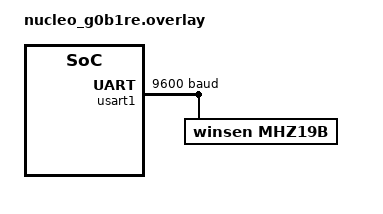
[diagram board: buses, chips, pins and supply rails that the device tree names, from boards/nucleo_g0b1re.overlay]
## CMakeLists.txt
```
# SPDX-License-Identifier: Apache-2.0

cmake_minimum_required(VERSION 3.20.0)
find_package(Zephyr REQUIRED HINTS $ENV{ZEPHYR_BASE})
project(mhz19b)

FILE(GLOB app_sources src/*.c)
target_sources(app PRIVATE ${app_sources})
```

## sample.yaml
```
#
# Copyright (c) 2021 G-Technologies Sdn. Bhd.
#
# SPDX-License-Identifier: Apache-2.0

sample:
  name: MH-Z19B CO2 sensor
tests:
  sample.sensor.mhz19b:
    build_only: true
    harness: sensor
    tags: sensors
    depends_on:
      - serial
    platform_allow:
      - nucleo_g0b1re
```

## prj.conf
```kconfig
CONFIG_STDOUT_CONSOLE=y
CONFIG_SERIAL=y
CONFIG_UART_INTERRUPT_DRIVEN=y
CONFIG_SENSOR=y
```

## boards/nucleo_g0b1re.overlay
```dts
/*
 * Copyright (c) 2021, G-Technologies Sdn. Bhd.
 *
 * SPDX-License-Identifier: Apache-2.0
 */

&usart1 {
	current-speed = <9600>;

	mhz19b {
		compatible = "winsen,mhz19b";
		maximum-range = <10000>;
		abc-on;
	};
};
```

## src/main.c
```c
/*
 * Copyright (c) 2021 G-Technologies Sdn. Bhd.
 *
 * SPDX-License-Identifier: Apache-2.0
 */

#include <zephyr/kernel.h>
#include <zephyr/sys/printk.h>
#include <zephyr/drivers/sensor.h>
#include <zephyr/drivers/sensor/mhz19b.h>

int main(void)
{
	const struct device *dev;
	struct sensor_value val;
	int ret;

	printk("Winsen MH-Z19B CO2 sensor application\n");

	dev = DEVICE_DT_GET_ONE(winsen_mhz19b);
	if (!device_is_ready(dev)) {
		printk("sensor: device not found.\n");
		return 0;
	}

	printk("Configuring sensor - ");

	val.val1 = 5000;
	ret = sensor_attr_set(dev, SENSOR_CHAN_CO2, SENSOR_ATTR_FULL_SCALE, &val);
	if (ret != 0) {
		printk("failed to set range to %d\n", val.val1);
		return 0;
	}

	val.val1 = 1;
	ret = sensor_attr_set(dev, SENSOR_CHAN_CO2, SENSOR_ATTR_MHZ19B_ABC, &val);
	if (ret != 0) {
		printk("failed to set ABC to %d\n", val.val1);
		return 0;
	}

	printk("OK\n");

	printk("Reading configurations from sensor:\n");

	ret = sensor_attr_get(dev, SENSOR_CHAN_CO2, SENSOR_ATTR_FULL_SCALE, &val);
	if (ret != 0) {
		printk("failed to get range\n");
		return 0;
	}

	printk("Sensor range is set to %dppm\n", val.val1);

	ret = sensor_attr_get(dev, SENSOR_CHAN_CO2, SENSOR_ATTR_MHZ19B_ABC, &val);
	if (ret != 0) {
		printk("failed to get ABC\n");
		return 0;
	}

	printk("Sensor ABC is %s\n", val.val1 == 1 ? "enabled" : "disabled");

	while (1) {
		if (sensor_sample_fetch(dev) != 0) {
			printk("sensor: sample fetch fail.\n");
			return 0;
		}

		if (sensor_channel_get(dev, SENSOR_CHAN_CO2, &val) != 0) {
			printk("sensor: channel get fail.\n");
			return 0;
		}

		printk("sensor: co2 reading: %d\n", val.val1);

		k_msleep(2000);
	}
	return 0;
}
```
